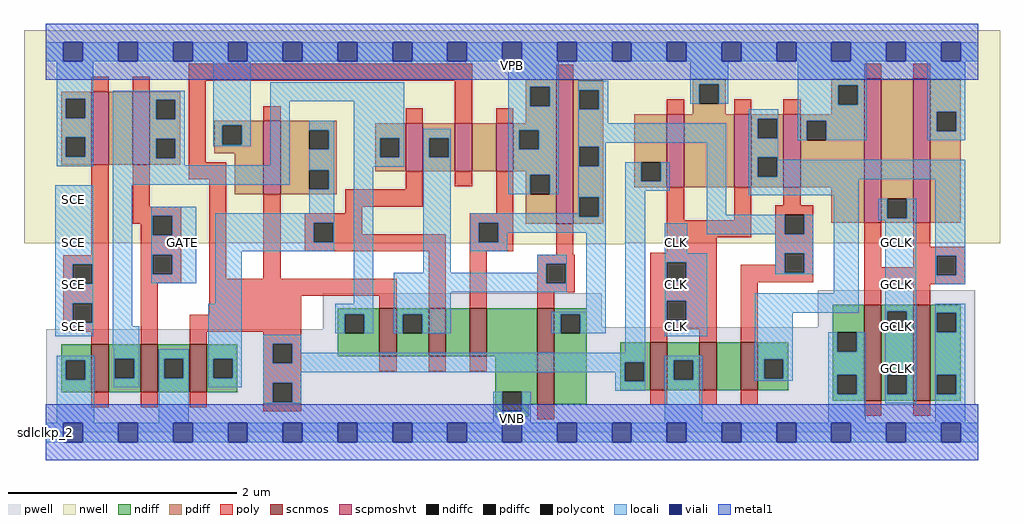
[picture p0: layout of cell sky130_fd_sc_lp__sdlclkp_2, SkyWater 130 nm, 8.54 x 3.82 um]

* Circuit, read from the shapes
.subckt sky130_fd_sc_lp__sdlclkp_2 CLK GATE SCE VGND VNB VPB VPWR GCLK
XM1 n1 SCE VGND VNB sky130_fd_pr__nfet_01v8 w=0.42 l=0.15
XM2 VGND GATE n1 VNB sky130_fd_pr__nfet_01v8 w=0.42 l=0.15
XM3 n2 n3 VGND VNB sky130_fd_pr__nfet_01v8 w=0.42 l=0.15
XM4 n4 n3 n1 VNB sky130_fd_pr__nfet_01v8 w=0.42 l=0.15
XM5 n5 n2 n4 VNB sky130_fd_pr__nfet_01v8 w=0.42 l=0.15
XM6 VGND n6 n5 VNB sky130_fd_pr__nfet_01v8 w=0.42 l=0.15
XM7 n6 n4 VGND VNB sky130_fd_pr__nfet_01v8 w=0.84 l=0.15
XM8 VGND CLK n3 VNB sky130_fd_pr__nfet_01v8 w=0.42 l=0.15
XM9 n7 CLK VGND VNB sky130_fd_pr__nfet_01v8 w=0.42 l=0.15
XM10 n8 n6 n7 VNB sky130_fd_pr__nfet_01v8 w=0.42 l=0.15
XM11 GCLK n8 VGND VNB sky130_fd_pr__nfet_01v8 w=0.84 l=0.15 m=2
XM12 n9 SCE VPWR VPB sky130_fd_pr__pfet_01v8_hvt w=0.64 l=0.15
XM13 n1 GATE n9 VPB sky130_fd_pr__pfet_01v8_hvt w=0.64 l=0.15
XM14 n2 n3 VPWR VPB sky130_fd_pr__pfet_01v8_hvt w=0.64 l=0.15
XM15 n4 n2 n1 VPB sky130_fd_pr__pfet_01v8_hvt w=0.42 l=0.15
XM16 n10 n3 n4 VPB sky130_fd_pr__pfet_01v8_hvt w=0.42 l=0.15
XM17 VPWR n6 n10 VPB sky130_fd_pr__pfet_01v8_hvt w=0.42 l=0.15
XM18 n6 n4 VPWR VPB sky130_fd_pr__pfet_01v8_hvt w=1.26 l=0.15
XM19 VPWR CLK n3 VPB sky130_fd_pr__pfet_01v8_hvt w=0.64 l=0.15
XM20 n8 CLK VPWR VPB sky130_fd_pr__pfet_01v8_hvt w=0.64 l=0.15
XM21 VPWR n6 n8 VPB sky130_fd_pr__pfet_01v8_hvt w=0.64 l=0.15
XM22 GCLK n8 VPWR VPB sky130_fd_pr__pfet_01v8_hvt w=1.26 l=0.15 m=2
.ends

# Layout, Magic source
magic
tech sky130A
magscale 1 2
<< nwell >>
rect -38 331 1670 704
rect 804 329 1012 331
<< pwell >>
rect 485 184 973 243
rect 1351 184 1627 249
rect 485 180 1627 184
rect 1 49 1627 180
rect 0 0 1632 49
<< scnmos >>
rect 80 70 110 154
rect 166 70 196 154
rect 252 70 282 154
rect 584 133 614 217
rect 670 133 700 217
rect 742 133 772 217
rect 860 49 890 217
rect 1058 74 1088 158
rect 1144 74 1174 158
rect 1216 74 1246 158
rect 1432 55 1462 223
rect 1518 55 1548 223
<< scpmoshvt >>
rect 80 468 110 596
rect 152 468 182 596
rect 381 417 411 545
rect 630 457 660 541
rect 716 457 746 541
rect 788 457 818 541
rect 893 365 923 617
rect 1087 429 1117 557
rect 1205 429 1235 557
rect 1291 429 1321 557
rect 1432 367 1462 619
rect 1518 367 1548 619
<< ndiff >>
rect 27 126 80 154
rect 27 92 35 126
rect 69 92 80 126
rect 27 70 80 92
rect 110 129 166 154
rect 110 95 121 129
rect 155 95 166 129
rect 110 70 166 95
rect 196 129 252 154
rect 196 95 207 129
rect 241 95 252 129
rect 196 70 252 95
rect 282 129 335 154
rect 282 95 293 129
rect 327 95 335 129
rect 282 70 335 95
rect 511 207 584 217
rect 511 173 523 207
rect 557 173 584 207
rect 511 133 584 173
rect 614 207 670 217
rect 614 173 625 207
rect 659 173 670 207
rect 614 133 670 173
rect 700 133 742 217
rect 772 133 860 217
rect 787 71 860 133
rect 787 37 799 71
rect 833 49 860 71
rect 890 207 947 217
rect 890 173 901 207
rect 935 173 947 207
rect 890 49 947 173
rect 1377 175 1432 223
rect 1005 123 1058 158
rect 1005 89 1013 123
rect 1047 89 1058 123
rect 1005 74 1058 89
rect 1088 126 1144 158
rect 1088 92 1099 126
rect 1133 92 1144 126
rect 1088 74 1144 92
rect 1174 74 1216 158
rect 1246 128 1299 158
rect 1246 94 1257 128
rect 1291 94 1299 128
rect 1246 74 1299 94
rect 1377 141 1385 175
rect 1419 141 1432 175
rect 1377 101 1432 141
rect 833 37 845 49
rect 787 27 845 37
rect 1377 67 1385 101
rect 1419 67 1432 101
rect 1377 55 1432 67
rect 1462 212 1518 223
rect 1462 178 1473 212
rect 1507 178 1518 212
rect 1462 101 1518 178
rect 1462 67 1473 101
rect 1507 67 1518 101
rect 1462 55 1518 67
rect 1548 209 1601 223
rect 1548 175 1559 209
rect 1593 175 1601 209
rect 1548 101 1601 175
rect 1548 67 1559 101
rect 1593 67 1601 101
rect 1548 55 1601 67
<< pdiff >>
rect 27 584 80 596
rect 27 550 35 584
rect 69 550 80 584
rect 27 516 80 550
rect 27 482 35 516
rect 69 482 80 516
rect 27 468 80 482
rect 110 468 152 596
rect 182 582 235 596
rect 182 548 193 582
rect 227 548 235 582
rect 182 514 235 548
rect 182 480 193 514
rect 227 480 235 514
rect 182 468 235 480
rect 295 537 381 545
rect 295 503 309 537
rect 343 503 381 537
rect 295 488 381 503
rect 331 417 381 488
rect 411 529 509 545
rect 840 605 893 617
rect 840 571 848 605
rect 882 571 893 605
rect 840 541 893 571
rect 411 495 461 529
rect 495 495 509 529
rect 411 459 509 495
rect 411 425 461 459
rect 495 425 509 459
rect 577 515 630 541
rect 577 481 585 515
rect 619 481 630 515
rect 577 457 630 481
rect 660 515 716 541
rect 660 481 671 515
rect 705 481 716 515
rect 660 457 716 481
rect 746 457 788 541
rect 818 529 893 541
rect 818 495 829 529
rect 863 495 893 529
rect 818 457 893 495
rect 411 417 509 425
rect 840 451 893 457
rect 840 417 848 451
rect 882 417 893 451
rect 840 365 893 417
rect 923 599 976 617
rect 923 565 934 599
rect 968 565 976 599
rect 1132 609 1190 619
rect 923 500 976 565
rect 1132 575 1144 609
rect 1178 575 1190 609
rect 1375 607 1432 619
rect 1132 557 1190 575
rect 1375 573 1387 607
rect 1421 573 1432 607
rect 1375 557 1432 573
rect 923 466 934 500
rect 968 466 976 500
rect 923 411 976 466
rect 1030 473 1087 557
rect 1030 439 1042 473
rect 1076 439 1087 473
rect 1030 429 1087 439
rect 1117 429 1205 557
rect 1235 549 1291 557
rect 1235 515 1246 549
rect 1280 515 1291 549
rect 1235 481 1291 515
rect 1235 447 1246 481
rect 1280 447 1291 481
rect 1235 429 1291 447
rect 1321 545 1432 557
rect 1321 511 1332 545
rect 1366 511 1432 545
rect 1321 429 1432 511
rect 923 377 934 411
rect 968 377 976 411
rect 923 365 976 377
rect 1375 367 1432 429
rect 1462 409 1518 619
rect 1462 375 1473 409
rect 1507 375 1518 409
rect 1462 367 1518 375
rect 1548 561 1601 619
rect 1548 527 1559 561
rect 1593 527 1601 561
rect 1548 367 1601 527
<< ndiffc >>
rect 35 92 69 126
rect 121 95 155 129
rect 207 95 241 129
rect 293 95 327 129
rect 523 173 557 207
rect 625 173 659 207
rect 799 37 833 71
rect 901 173 935 207
rect 1013 89 1047 123
rect 1099 92 1133 126
rect 1257 94 1291 128
rect 1385 141 1419 175
rect 1385 67 1419 101
rect 1473 178 1507 212
rect 1473 67 1507 101
rect 1559 175 1593 209
rect 1559 67 1593 101
<< pdiffc >>
rect 35 550 69 584
rect 35 482 69 516
rect 193 548 227 582
rect 193 480 227 514
rect 309 503 343 537
rect 848 571 882 605
rect 461 495 495 529
rect 461 425 495 459
rect 585 481 619 515
rect 671 481 705 515
rect 829 495 863 529
rect 848 417 882 451
rect 934 565 968 599
rect 1144 575 1178 609
rect 1387 573 1421 607
rect 934 466 968 500
rect 1042 439 1076 473
rect 1246 515 1280 549
rect 1246 447 1280 481
rect 1332 511 1366 545
rect 934 377 968 411
rect 1473 375 1507 409
rect 1559 527 1593 561
<< poly >>
rect 80 596 110 622
rect 152 596 182 622
rect 250 615 746 645
rect 893 617 923 643
rect 1432 619 1462 645
rect 1518 619 1548 645
rect 250 473 280 615
rect 381 545 411 571
rect 80 310 110 468
rect 152 395 182 468
rect 250 443 316 473
rect 152 379 237 395
rect 152 365 187 379
rect 31 294 110 310
rect 31 260 47 294
rect 81 260 110 294
rect 31 226 110 260
rect 31 192 47 226
rect 81 192 110 226
rect 31 176 110 192
rect 80 154 110 176
rect 166 345 187 365
rect 221 345 237 379
rect 166 311 237 345
rect 166 277 187 311
rect 221 277 237 311
rect 166 261 237 277
rect 286 269 316 443
rect 630 541 660 567
rect 716 541 746 615
rect 788 541 818 567
rect 630 425 660 457
rect 716 431 746 457
rect 381 269 411 417
rect 524 395 660 425
rect 524 383 554 395
rect 788 383 818 457
rect 453 367 554 383
rect 453 333 469 367
rect 503 347 554 367
rect 742 367 818 383
rect 503 333 700 347
rect 453 317 700 333
rect 166 154 196 261
rect 286 239 614 269
rect 286 206 447 239
rect 584 217 614 239
rect 670 217 700 317
rect 742 333 758 367
rect 792 333 818 367
rect 1087 557 1117 583
rect 1205 557 1235 583
rect 1291 557 1321 583
rect 1087 371 1117 429
rect 1205 371 1235 429
rect 1291 397 1321 429
rect 742 317 818 333
rect 742 217 772 317
rect 893 311 923 365
rect 1087 341 1235 371
rect 1277 381 1343 397
rect 1277 347 1293 381
rect 1327 347 1343 381
rect 1087 314 1174 341
rect 860 295 926 311
rect 860 261 876 295
rect 910 261 926 295
rect 860 245 926 261
rect 1058 298 1174 314
rect 1058 264 1087 298
rect 1121 264 1174 298
rect 1277 313 1343 347
rect 1277 293 1293 313
rect 860 217 890 245
rect 1058 230 1174 264
rect 252 176 447 206
rect 252 154 282 176
rect 381 155 447 176
rect 381 121 397 155
rect 431 121 447 155
rect 381 87 447 121
rect 584 107 614 133
rect 670 107 700 133
rect 742 107 772 133
rect 80 44 110 70
rect 166 44 196 70
rect 252 44 282 70
rect 381 53 397 87
rect 431 53 447 87
rect 381 37 447 53
rect 1058 196 1087 230
rect 1121 196 1174 230
rect 1058 180 1174 196
rect 1058 158 1088 180
rect 1144 158 1174 180
rect 1216 279 1293 293
rect 1327 279 1343 313
rect 1216 263 1343 279
rect 1432 289 1462 367
rect 1518 325 1548 367
rect 1518 309 1609 325
rect 1518 289 1559 309
rect 1432 275 1559 289
rect 1593 275 1609 309
rect 1216 158 1246 263
rect 1432 259 1609 275
rect 1432 223 1462 259
rect 1518 223 1548 259
rect 860 23 890 49
rect 1058 48 1088 74
rect 1144 48 1174 74
rect 1216 48 1246 74
rect 1432 29 1462 55
rect 1518 29 1548 55
<< polycont >>
rect 47 260 81 294
rect 47 192 81 226
rect 187 345 221 379
rect 187 277 221 311
rect 469 333 503 367
rect 758 333 792 367
rect 1293 347 1327 381
rect 876 261 910 295
rect 1087 264 1121 298
rect 397 121 431 155
rect 397 53 431 87
rect 1087 196 1121 230
rect 1293 279 1327 313
rect 1559 275 1593 309
<< locali >>
rect 0 649 31 683
rect 65 649 127 683
rect 161 649 223 683
rect 257 649 319 683
rect 353 649 415 683
rect 449 649 511 683
rect 545 649 607 683
rect 641 649 703 683
rect 737 649 799 683
rect 833 649 895 683
rect 929 649 991 683
rect 1025 649 1087 683
rect 1121 649 1183 683
rect 1217 649 1279 683
rect 1313 649 1375 683
rect 1409 649 1471 683
rect 1505 649 1567 683
rect 1601 649 1632 683
rect 19 584 83 649
rect 19 550 35 584
rect 69 550 83 584
rect 19 516 83 550
rect 19 482 35 516
rect 69 482 83 516
rect 19 466 83 482
rect 117 582 243 598
rect 117 548 193 582
rect 227 548 243 582
rect 117 514 243 548
rect 117 480 193 514
rect 227 480 243 514
rect 293 537 359 649
rect 293 503 309 537
rect 343 503 359 537
rect 293 501 359 503
rect 393 579 627 613
rect 117 467 243 480
rect 393 467 427 579
rect 117 433 427 467
rect 461 529 505 545
rect 495 495 505 529
rect 461 459 505 495
rect 17 294 83 432
rect 17 260 47 294
rect 81 260 83 294
rect 17 226 83 260
rect 17 192 47 226
rect 81 192 83 226
rect 17 168 83 192
rect 117 186 151 433
rect 495 425 505 459
rect 185 379 263 395
rect 461 383 505 425
rect 185 345 187 379
rect 221 345 263 379
rect 185 311 263 345
rect 185 277 187 311
rect 221 277 263 311
rect 185 261 263 277
rect 297 367 505 383
rect 297 333 469 367
rect 503 333 505 367
rect 297 317 505 333
rect 539 515 627 579
rect 809 605 898 649
rect 809 571 848 605
rect 882 571 898 605
rect 539 481 585 515
rect 619 481 627 515
rect 539 465 627 481
rect 661 515 709 531
rect 661 481 671 515
rect 705 481 709 515
rect 297 225 343 317
rect 539 225 573 465
rect 661 279 709 481
rect 809 529 898 571
rect 809 495 829 529
rect 863 495 898 529
rect 809 451 898 495
rect 809 417 848 451
rect 882 417 898 451
rect 932 599 984 615
rect 932 565 934 599
rect 968 565 984 599
rect 1128 609 1194 649
rect 1128 575 1144 609
rect 1178 575 1194 609
rect 1316 607 1437 649
rect 1316 573 1387 607
rect 1421 573 1437 607
rect 932 541 984 565
rect 1230 549 1282 565
rect 932 507 1191 541
rect 932 500 980 507
rect 932 466 934 500
rect 968 466 980 500
rect 932 411 980 466
rect 932 383 934 411
rect 743 377 934 383
rect 968 377 980 411
rect 743 367 980 377
rect 743 333 758 367
rect 792 349 980 367
rect 792 333 808 349
rect 743 317 808 333
rect 860 295 912 311
rect 860 279 876 295
rect 117 148 164 186
rect 19 126 85 134
rect 19 92 35 126
rect 69 92 85 126
rect 19 17 85 92
rect 119 129 164 148
rect 119 95 121 129
rect 155 95 164 129
rect 119 79 164 95
rect 198 129 250 145
rect 198 95 207 129
rect 241 95 250 129
rect 198 17 250 95
rect 284 129 343 225
rect 507 207 573 225
rect 507 173 523 207
rect 557 173 573 207
rect 609 261 876 279
rect 910 261 912 295
rect 609 245 912 261
rect 609 207 709 245
rect 946 211 980 349
rect 609 173 625 207
rect 659 173 709 207
rect 885 207 980 211
rect 885 173 901 207
rect 935 173 980 207
rect 1014 439 1042 473
rect 1076 439 1092 473
rect 1014 423 1092 439
rect 284 95 293 129
rect 327 95 343 129
rect 284 79 343 95
rect 381 155 447 171
rect 381 121 397 155
rect 431 139 447 155
rect 1014 139 1049 423
rect 1157 381 1191 507
rect 1230 515 1246 549
rect 1280 515 1282 549
rect 1230 481 1282 515
rect 1316 545 1437 573
rect 1316 511 1332 545
rect 1366 511 1437 545
rect 1543 561 1609 649
rect 1543 527 1559 561
rect 1593 527 1609 561
rect 1543 511 1609 527
rect 1230 447 1246 481
rect 1280 477 1282 481
rect 1280 447 1609 477
rect 1230 443 1609 447
rect 1230 415 1423 443
rect 1083 313 1123 366
rect 1157 347 1293 381
rect 1327 347 1343 381
rect 1277 313 1343 347
rect 1083 298 1158 313
rect 1083 264 1087 298
rect 1121 264 1158 298
rect 1277 279 1293 313
rect 1327 279 1343 313
rect 1277 277 1343 279
rect 1083 230 1158 264
rect 1379 243 1423 415
rect 1457 375 1473 409
rect 1507 375 1523 409
rect 1457 371 1523 375
rect 1083 196 1087 230
rect 1121 196 1158 230
rect 1083 168 1158 196
rect 1241 209 1423 243
rect 1469 212 1523 371
rect 1557 309 1609 443
rect 1557 275 1559 309
rect 1593 275 1609 309
rect 1557 259 1609 275
rect 431 123 1049 139
rect 431 121 1013 123
rect 381 105 1013 121
rect 381 87 447 105
rect 381 53 397 87
rect 431 53 447 87
rect 997 89 1013 105
rect 1047 89 1049 123
rect 997 73 1049 89
rect 1083 126 1149 134
rect 1083 92 1099 126
rect 1133 92 1149 126
rect 381 51 447 53
rect 783 37 799 71
rect 833 37 849 71
rect 783 17 849 37
rect 1083 17 1149 92
rect 1241 128 1307 209
rect 1469 178 1473 212
rect 1507 178 1523 212
rect 1241 94 1257 128
rect 1291 94 1307 128
rect 1241 90 1307 94
rect 1369 141 1385 175
rect 1419 141 1435 175
rect 1369 101 1435 141
rect 1369 67 1385 101
rect 1419 67 1435 101
rect 1369 17 1435 67
rect 1469 101 1523 178
rect 1469 67 1473 101
rect 1507 67 1523 101
rect 1469 51 1523 67
rect 1557 209 1609 225
rect 1557 175 1559 209
rect 1593 175 1609 209
rect 1557 101 1609 175
rect 1557 67 1559 101
rect 1593 67 1609 101
rect 1557 17 1609 67
rect 0 -17 31 17
rect 65 -17 127 17
rect 161 -17 223 17
rect 257 -17 319 17
rect 353 -17 415 17
rect 449 -17 511 17
rect 545 -17 607 17
rect 641 -17 703 17
rect 737 -17 799 17
rect 833 -17 895 17
rect 929 -17 991 17
rect 1025 -17 1087 17
rect 1121 -17 1183 17
rect 1217 -17 1279 17
rect 1313 -17 1375 17
rect 1409 -17 1471 17
rect 1505 -17 1567 17
rect 1601 -17 1632 17
<< viali >>
rect 31 649 65 683
rect 127 649 161 683
rect 223 649 257 683
rect 319 649 353 683
rect 415 649 449 683
rect 511 649 545 683
rect 607 649 641 683
rect 703 649 737 683
rect 799 649 833 683
rect 895 649 929 683
rect 991 649 1025 683
rect 1087 649 1121 683
rect 1183 649 1217 683
rect 1279 649 1313 683
rect 1375 649 1409 683
rect 1471 649 1505 683
rect 1567 649 1601 683
rect 31 -17 65 17
rect 127 -17 161 17
rect 223 -17 257 17
rect 319 -17 353 17
rect 415 -17 449 17
rect 511 -17 545 17
rect 607 -17 641 17
rect 703 -17 737 17
rect 799 -17 833 17
rect 895 -17 929 17
rect 991 -17 1025 17
rect 1087 -17 1121 17
rect 1183 -17 1217 17
rect 1279 -17 1313 17
rect 1375 -17 1409 17
rect 1471 -17 1505 17
rect 1567 -17 1601 17
<< metal1 >>
rect 0 683 1632 715
rect 0 649 31 683
rect 65 649 127 683
rect 161 649 223 683
rect 257 649 319 683
rect 353 649 415 683
rect 449 649 511 683
rect 545 649 607 683
rect 641 649 703 683
rect 737 649 799 683
rect 833 649 895 683
rect 929 649 991 683
rect 1025 649 1087 683
rect 1121 649 1183 683
rect 1217 649 1279 683
rect 1313 649 1375 683
rect 1409 649 1471 683
rect 1505 649 1567 683
rect 1601 649 1632 683
rect 0 617 1632 649
rect 0 17 1632 49
rect 0 -17 31 17
rect 65 -17 127 17
rect 161 -17 223 17
rect 257 -17 319 17
rect 353 -17 415 17
rect 449 -17 511 17
rect 545 -17 607 17
rect 641 -17 703 17
rect 737 -17 799 17
rect 833 -17 895 17
rect 929 -17 991 17
rect 1025 -17 1087 17
rect 1121 -17 1183 17
rect 1217 -17 1279 17
rect 1313 -17 1375 17
rect 1409 -17 1471 17
rect 1505 -17 1567 17
rect 1601 -17 1632 17
rect 0 -49 1632 -17
<< labels >>
flabel pwell s 0 0 1632 49 0 FreeSans 200 0 0 0 VNB
port 5 nsew ground bidirectional
flabel nwell s 0 617 1632 666 0 FreeSans 200 0 0 0 VPB
port 6 nsew power bidirectional
rlabel comment s 0 0 0 0 4 sdlclkp_2
flabel metal1 s 0 617 1632 666 0 FreeSans 340 0 0 0 VPWR
port 7 nsew power bidirectional
flabel metal1 s 0 0 1632 49 0 FreeSans 340 0 0 0 VGND
port 4 nsew ground bidirectional
flabel locali s 1087 168 1121 202 0 FreeSans 340 0 0 0 CLK
port 1 nsew clock input
flabel locali s 1087 242 1121 276 0 FreeSans 340 0 0 0 CLK
port 1 nsew clock input
flabel locali s 1087 316 1121 350 0 FreeSans 340 0 0 0 CLK
port 1 nsew clock input
flabel locali s 223 316 257 350 0 FreeSans 340 0 0 0 GATE
port 2 nsew signal input
flabel locali s 31 168 65 202 0 FreeSans 340 0 0 0 SCE
port 3 nsew signal input
flabel locali s 31 242 65 276 0 FreeSans 340 0 0 0 SCE
port 3 nsew signal input
flabel locali s 31 316 65 350 0 FreeSans 340 0 0 0 SCE
port 3 nsew signal input
flabel locali s 31 390 65 424 0 FreeSans 340 0 0 0 SCE
port 3 nsew signal input
flabel locali s 1471 94 1505 128 0 FreeSans 340 0 0 0 GCLK
port 8 nsew signal output
flabel locali s 1471 168 1505 202 0 FreeSans 340 0 0 0 GCLK
port 8 nsew signal output
flabel locali s 1471 242 1505 276 0 FreeSans 340 0 0 0 GCLK
port 8 nsew signal output
flabel locali s 1471 316 1505 350 0 FreeSans 340 0 0 0 GCLK
port 8 nsew signal output
<< properties >>
string LEFsite unit
string LEFclass CORE
string FIXED_BBOX 0 0 1632 666
string GDS_FILE $PDKPATH/libs.ref/sky130_fd_sc_lp/gds/sky130_fd_sc_lp.gds
string LEFsymmetry X Y R90
string GDS_END 1477732
string GDS_START 1465172
<< end >>
